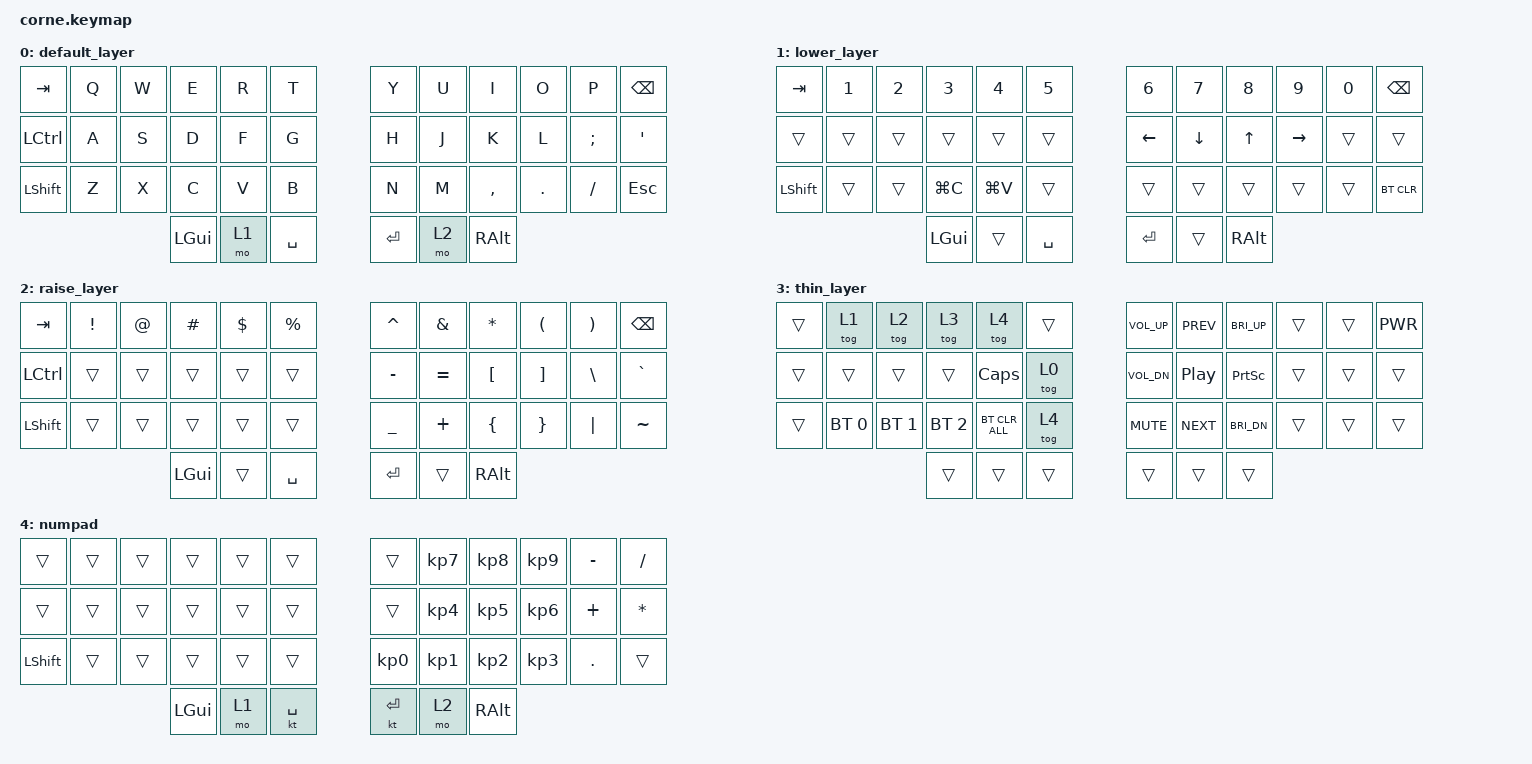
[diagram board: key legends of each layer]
/*
 * Copyright (c) 2020 The ZMK Contributors
 *
 * SPDX-License-Identifier: MIT
 */

#include <behaviors.dtsi>
#include <dt-bindings/zmk/bt.h>
#include <dt-bindings/zmk/keys.h>
#include <dt-bindings/zmk/keys.h>

// #include <keys_ua.h>

/ {
    combos {
        compatible = "zmk,combos";

        right_bracket {
            bindings = <&kp RIGHT_BRACKET>;
            key-positions = <10 9>;
        };

        left_bracket {
            bindings = <&kp LBKT>;
            key-positions = <8 9>;
        };

        back_slash {
            bindings = <&kp BACKSLASH>;
            key-positions = <21 22>;
        };

        left_par {
            bindings = <&kp LEFT_PARENTHESIS>;
            key-positions = <3 4>;
            layers = <0>;
        };

        left_brace {
            bindings = <&kp LEFT_BRACE>;
            key-positions = <15 16>;
        };

        right_shift {
            bindings = <&kp RIGHT_SHIFT>;
            key-positions = <34 33>;
        };

        right_par {
            bindings = <&kp RIGHT_PARENTHESIS>;
            key-positions = <4 5>;
        };
    };

    keymap {
        compatible = "zmk,keymap";

        default_layer {
            // -----------------------------------------------------------------------------------------
            // |  TAB |  Q  |  W  |  E  |  R  |  T  |   |  Y  |  U   |  I  |  O  |  P  | BKSP |
            // | CTRL |  A  |  S  |  D  |  F  |  G  |   |  H  |  J   |  K  |  L  |  ;  |  '   |
            // | SHFT |  Z  |  X  |  C  |  V  |  B  |   |  N  |  M   |  ,  |  .  |  /  | ESC  |
            //                    | GUI | LWR | SPC |   | ENT | RSE  | ALT |

            bindings = <
&kp TAB    &kp Q  &kp W  &kp E     &kp R  &kp T        &kp Y    &kp U  &kp I      &kp O    &kp P     &kp BSPC
&kp LCTRL  &kp A  &kp S  &kp D     &kp F  &kp G        &kp H    &kp J  &kp K      &kp L    &kp SEMI  &kp SQT
&kp LSHFT  &kp Z  &kp X  &kp C     &kp V  &kp B        &kp N    &kp M  &kp COMMA  &kp DOT  &kp FSLH  &kp ESC
                         &kp LGUI  &mo 1  &kp SPACE    &kp RET  &mo 2  &kp RALT
            >;
        };

        lower_layer {
            // -----------------------------------------------------------------------------------------
            // |  TAB |  1  |  2  |  3  |  4  |  5  |   |  6  |  7  |  8  |  9  |  0  | BKSP |
            // | BTCLR|     |     |     |     |     |   | LFT | DWN |  UP | RGT |     |      |
            // | SHFT | BT1 | BT2 | BT3 | BT4 | BT5 |   |     |     |     |     |     |      |
            //                    | GUI |     | SPC |   | ENT |     | ALT |

            bindings = <
&kp TAB    &kp N1  &kp N2  &kp N3     &kp N4     &kp N5       &kp N6    &kp N7    &kp N8    &kp N9     &kp N0  &kp BSPC
&trans     &trans  &trans  &trans     &trans     &trans       &kp LEFT  &kp DOWN  &kp UP    &kp RIGHT  &trans  &trans
&kp LSHFT  &trans  &trans  &kp LG(C)  &kp LG(V)  &trans       &trans    &trans    &trans    &trans     &trans  &bt BT_CLR
                           &kp LGUI   &trans     &kp SPACE    &kp RET   &trans    &kp RALT
            >;
        };

        raise_layer {
            // -----------------------------------------------------------------------------------------
            // |  TAB |  !  |  @  |  #  |  $  |  %  |   |  ^  |  &  |  *  |  (  |  )  | BKSP |
            // | CTRL |     |     |     |     |     |   |  -  |  =  |  [  |  ]  |  \  |  `   |
            // | SHFT |     |     |     |     |     |   |  _  |  +  |  {  |  }  | "|" |  ~   |
            //                    | GUI |     | SPC |   | ENT |     | ALT |

            bindings = <
&kp TAB    &kp EXCL  &kp AT  &kp HASH  &kp DLLR  &kp PRCNT    &kp CARET  &kp AMPS   &kp ASTRK  &kp LPAR  &kp RPAR  &kp BSPC
&kp LCTRL  &trans    &trans  &trans    &trans    &trans       &kp MINUS  &kp EQUAL  &kp LBKT   &kp RBKT  &kp BSLH  &kp GRAVE
&kp LSHFT  &trans    &trans  &trans    &trans    &trans       &kp UNDER  &kp PLUS   &kp LBRC   &kp RBRC  &kp PIPE  &kp TILDE
                             &kp LGUI  &trans    &kp SPACE    &kp RET    &trans     &kp RALT
            >;
        };

        thin_layer {
            bindings = <
&trans  &tog 1        &tog 2        &tog 3        &tog 4          &trans    &kp C_VOL_UP  &kp C_PREV        &kp C_BRI_UP  &trans  &trans  &kp C_PWR
&trans  &trans        &trans        &trans        &kp CAPS        &tog 0    &kp C_VOL_DN  &kp C_PLAY_PAUSE  &kp PSCRN     &trans  &trans  &trans
&trans  &bt BT_SEL 0  &bt BT_SEL 1  &bt BT_SEL 2  &bt BT_CLR_ALL  &tog 4    &kp C_MUTE    &kp C_NEXT        &kp C_BRI_DN  &trans  &trans  &trans
                                    &trans        &trans          &trans    &trans        &trans            &trans
            >;
        };

        numpad {
            bindings = <
&trans          &trans  &trans  &trans        &trans  &trans       &trans           &kp KP_NUMBER_7  &kp KP_NUMBER_8  &kp KP_NUMBER_9  &kp MINUS  &kp SLASH
&trans          &trans  &trans  &trans        &trans  &trans       &trans           &kp KP_NUMBER_4  &kp KP_NUMBER_5  &kp KP_NUMBER_6  &kp PLUS   &kp ASTERISK
&kp LEFT_SHIFT  &trans  &trans  &trans        &trans  &trans       &kp KP_NUMBER_0  &kp KP_NUMBER_1  &kp KP_NUMBER_2  &kp KP_NUMBER_3  &kp DOT    &trans
                                &kp LEFT_GUI  &mo 1   &kt SPACE    &kt RET          &mo 2            &kp RALT
            >;
        };
    };

    conditional_layers {
        compatible = "zmk,conditional-layers";

        tri_layer {
            if-layers = <1 2>;
            then-layer = <3>;
        };
    };
};
